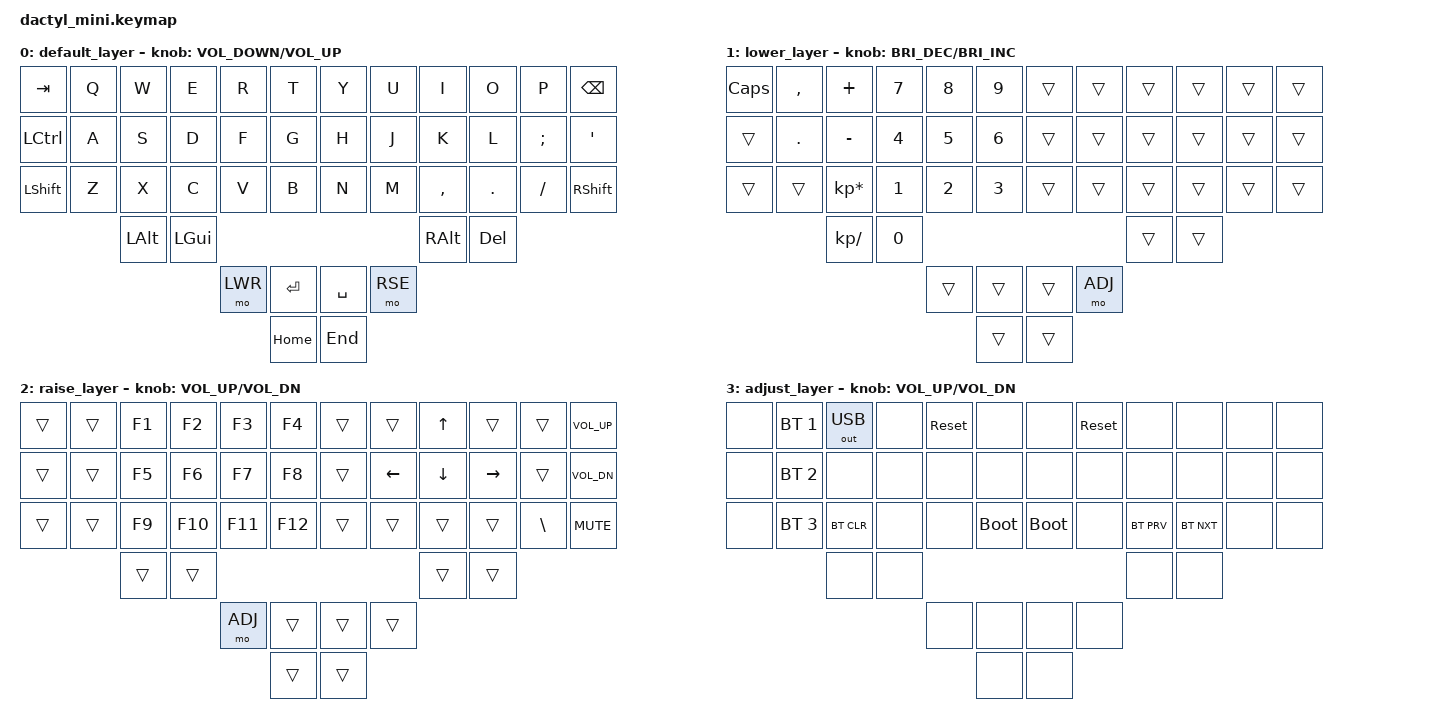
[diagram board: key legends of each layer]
#include <behaviors.dtsi>
#include <dt-bindings/zmk/bt.h>
#include <dt-bindings/zmk/keys.h>
#include <dt-bindings/zmk/outputs.h>

#define DEFAULT 0
#define LWR 1
#define RSE 2
#define ADJ 3

/ {
    keymap {
        compatible = "zmk,keymap";

        default_layer {
            bindings = <
&kp TAB    &kp Q  &kp W     &kp E     &kp R    &kp T       &kp Y      &kp U    &kp I          &kp O    &kp P     &kp BACKSPACE
&kp LCTRL  &kp A  &kp S     &kp D     &kp F    &kp G       &kp H      &kp J    &kp K          &kp L    &kp SEMI  &kp SQT
&kp LSHFT  &kp Z  &kp X     &kp C     &kp V    &kp B       &kp N      &kp M    &kp COMMA      &kp DOT  &kp FSLH  &kp RIGHT_SHIFT
                  &kp LALT  &kp LGUI                                           &kp RIGHT_ALT  &kp DEL
                                      &mo LWR  &kp RET     &kp SPACE  &mo RSE
                                               &kp HOME    &kp END
            >;

            sensor-bindings = <&inc_dec_kp C_VOLUME_DOWN C_VOLUME_UP>;
        };

        lower_layer {
            bindings = <
&kp CAPS  &kp COMMA  &kp PLUS         &kp N7  &kp N8  &kp N9    &trans  &trans   &trans  &trans  &trans  &trans
&trans    &kp DOT    &kp MINUS        &kp N4  &kp N5  &kp N6    &trans  &trans   &trans  &trans  &trans  &trans
&trans    &trans     &kp KP_MULTIPLY  &kp N1  &kp N2  &kp N3    &trans  &trans   &trans  &trans  &trans  &trans
                     &kp KP_DIVIDE    &kp N0                                     &trans  &trans
                                              &trans  &trans    &trans  &mo ADJ
                                                      &trans    &trans
            >;

            sensor-bindings = <&inc_dec_kp C_BRIGHTNESS_DEC C_BRIGHTNESS_INC>;
        };

        raise_layer {
            bindings = <
&trans  &trans  &kp F1  &kp F2   &kp F3   &kp F4     &trans  &trans    &kp UP    &trans     &trans    &kp K_VOL_UP
&trans  &trans  &kp F5  &kp F6   &kp F7   &kp F8     &trans  &kp LEFT  &kp DOWN  &kp RIGHT  &trans    &kp K_VOL_DN
&trans  &trans  &kp F9  &kp F10  &kp F11  &kp F12    &trans  &trans    &trans    &trans     &kp BSLH  &kp K_MUTE
                &trans  &trans                                         &trans    &trans
                                 &mo ADJ  &trans     &trans  &trans
                                          &trans     &trans
            >;

            sensor-bindings = <&inc_dec_kp C_VOL_UP C_VOL_DN>;
        };

        adjust_layer {
            bindings = <
&none  &bt BT_SEL 1  &out OUT_USB  &none  &sys_reset  &none          &none        &sys_reset  &none       &none       &none  &none
&none  &bt BT_SEL 2  &none         &none  &none       &none          &none        &none       &none       &none       &none  &none
&none  &bt BT_SEL 3  &bt BT_CLR    &none  &none       &bootloader    &bootloader  &none       &bt BT_PRV  &bt BT_NXT  &none  &none
                     &none         &none                                                      &none       &none
                                          &none       &none          &none        &none
                                                      &none          &none
            >;

            sensor-bindings = <&inc_dec_kp C_VOL_UP C_VOL_DN>;
        };
    };
};
